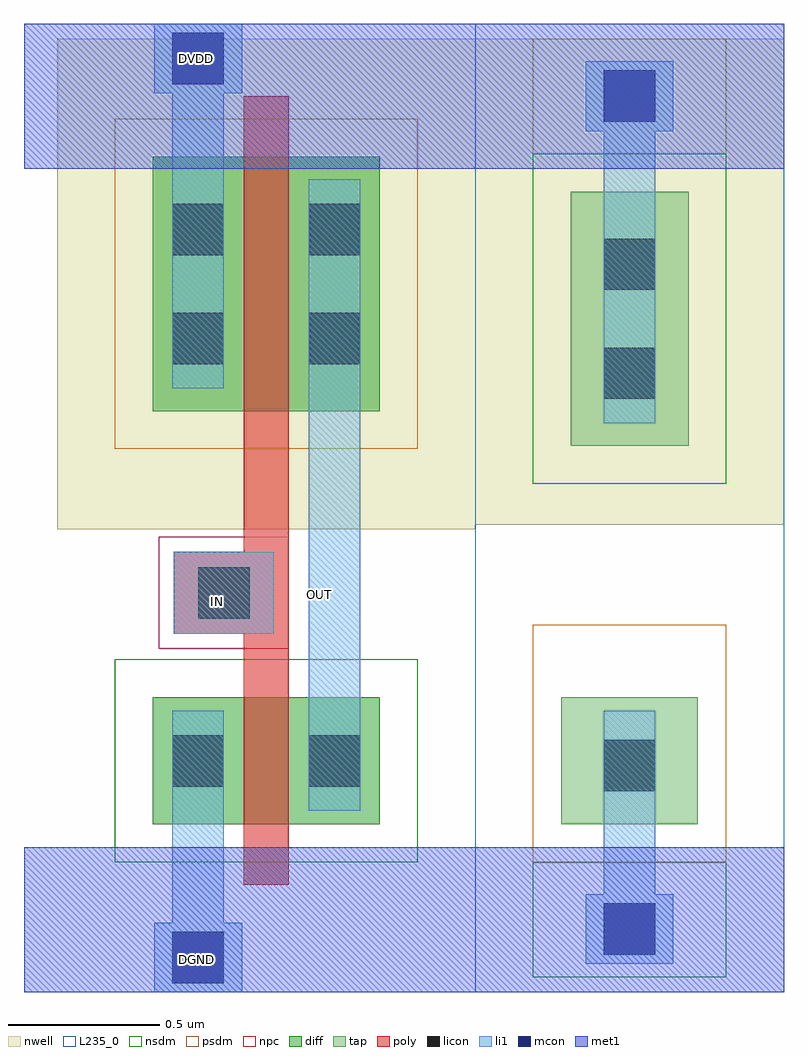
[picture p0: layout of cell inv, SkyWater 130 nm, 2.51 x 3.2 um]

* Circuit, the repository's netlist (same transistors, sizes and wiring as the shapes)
** sch_path: /home/ee24s053/ee5311-2025/tut5/inv/prim/inv.sch
.subckt inv DVDD OUT IN DGND
*.PININFO DVDD:B DGND:B OUT:O IN:I
XM1 OUT IN DVDD DVDD sky130_fd_pr__pfet_01v8 L=0.15 W=0.84 nf=1 m=1
XM2 OUT IN DGND DGND sky130_fd_pr__nfet_01v8 L=0.15 W=0.42 nf=1 m=1
.ends
.end

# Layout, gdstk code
import gdstk
lib = gdstk.Library(unit=1e-6, precision=1e-09)
def R(c, l, rs):  # rectangles x0, y0, x1, y1
    for r in rs: c.add(gdstk.rectangle(r[:2], r[2:], *l))
nwell = (64, 20)
diff = (65, 20)
tap = (65, 44)
poly = (66, 20)
licon = (66, 44)
li1 = (67, 20)
mcon = (67, 44)
met1 = (68, 20)
nsdm = (93, 44)
psdm = (94, 20)
npc = (95, 20)
L235_0 = (235, 0)

vias_gen = lib.new_cell('vias_gen')
R(vias_gen, li1, [(0,0,0.29,0.23)])
R(vias_gen, mcon, [(0.06,0.03,0.23,0.2)])
R(vias_gen, met1, [(0,0,0.29,0.23)])

tap_ = lib.new_cell('tap')
R(tap_, nwell, [(-1.455,0.92,-0.435,2.525)])
R(tap_, tap, [(-1.17,-0.07,-0.72,0.35), (-1.14,1.18,-0.75,2.02)])
R(tap_, licon, [(-1.03,0.04,-0.86,0.21), (-1.03,1.335,-0.86,1.505), (-1.03,1.695,-0.86,1.865)])
R(tap_, li1, [(-1.03,-0.3,-0.86,-0.025), (-1.03,-0.025,-0.86,0.305), (-1.03,1.255,-0.86,1.945), (-1.03,1.945,-0.86,2.25)])
R(tap_, met1, [(-1.455,-0.625,-0.435,-0.145), (-1.455,2.095,-0.435,2.575)])
R(tap_, nsdm, [(-1.265,-0.575,-0.625,-0.195), (-1.265,1.055,-0.625,2.145)])
R(tap_, psdm, [(-1.265,-0.195,-0.625,0.59), (-1.265,2.145,-0.625,2.525)])
R(tap_, L235_0, [(-1.455,-0.625,-0.435,2.575)])
tap_.add(gdstk.Reference(vias_gen, (-1.09,-0.53)))
tap_.add(gdstk.Reference(vias_gen, (-1.09,2.22)))

pfet_1 = lib.new_cell('pfet$1')
R(pfet_1, nwell, [(-0.315,-0.39,1.065,1.23)])
R(pfet_1, diff, [(0,0,0.75,0.84)])
R(pfet_1, poly, [(0.3,-0.2,0.45,1.04)])
R(pfet_1, licon, [(0.065,0.155,0.235,0.325), (0.515,0.155,0.685,0.325), (0.065,0.515,0.235,0.685), (0.515,0.515,0.685,0.685)])
R(pfet_1, li1, [(0.065,0.075,0.235,0.765), (0.515,0.075,0.685,0.765)])
R(pfet_1, psdm, [(-0.125,-0.125,0.875,0.965)])

nfet = lib.new_cell('nfet')
R(nfet, diff, [(0,0,0.75,0.42)])
R(nfet, poly, [(0.3,-0.2,0.45,0.62)])
R(nfet, licon, [(0.065,0.125,0.235,0.295), (0.515,0.125,0.685,0.295)])
R(nfet, li1, [(0.065,0.045,0.235,0.375), (0.515,0.045,0.685,0.375)])
R(nfet, nsdm, [(-0.125,-0.125,0.875,0.545)])

vias_gen_2 = lib.new_cell('vias_gen$2')
R(vias_gen_2, poly, [(0,0,0.33,0.27)])
R(vias_gen_2, licon, [(0.08,0.05,0.25,0.22)])
R(vias_gen_2, li1, [(0,0,0.33,0.27)])
R(vias_gen_2, npc, [(-0.05,-0.05,0.38,0.32)])

vias_gen_5 = lib.new_cell('vias_gen$5')
R(vias_gen_5, li1, [(0,0,0.29,0.23)])
R(vias_gen_5, mcon, [(0.06,0.03,0.23,0.2)])
R(vias_gen_5, met1, [(0,0,0.29,0.23)])

inv = lib.new_cell('inv')
R(inv, poly, [(-1.775,0.425,-1.625,0.97)])
R(inv, li1, [(-2.01,-0.75,-1.84,-0.15), (-1.56,0.18,-1.39,1.245), (-2.01,1.935,-1.84,2.45)])
R(inv, met1, [(-2.5,-0.75,-1.01,-0.27), (-2.5,1.97,-1.01,2.45)])
inv.add(gdstk.Reference(tap_, (0.445,-0.125)))
inv.add(gdstk.Reference(pfet_1, (-2.075,1.17)))
inv.add(gdstk.Reference(nfet, (-2.075,-0.195)))
inv.add(gdstk.Reference(vias_gen_2, (-2.005,0.435)))
inv.add(gdstk.Reference(vias_gen_5, (-2.07,2.22)))
inv.add(gdstk.Reference(vias_gen_5, (-2.07,-0.75)))
inv.add(gdstk.Label('IN', (-1.86,0.54), layer=67, texttype=5))
inv.add(gdstk.Label('OUT', (-1.525,0.565), layer=67, texttype=5))
inv.add(gdstk.Label('DVDD', (-1.93,2.335), layer=68, texttype=5))
inv.add(gdstk.Label('DGND', (-1.93,-0.64), layer=68, texttype=5))

lib.write_gds('inv.gds')
